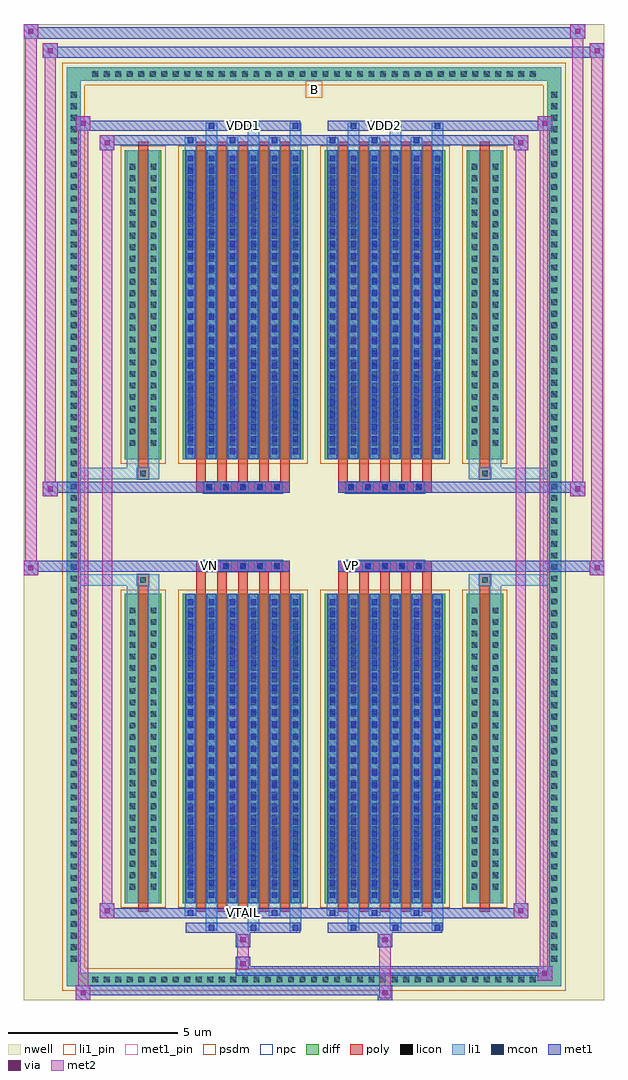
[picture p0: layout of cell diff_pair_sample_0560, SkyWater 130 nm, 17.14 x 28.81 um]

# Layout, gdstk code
import gdstk
lib = gdstk.Library(unit=1e-6, precision=5e-09)
def R(c, l, rs):  # rectangles x0, y0, x1, y1
    for r in rs: c.add(gdstk.rectangle(r[:2], r[2:], *l))
def A(c, l, x, y, w, h, nx, ny, dx, dy):  # array of equal rectangles
    R(c, l, [(x+i*dx, y+j*dy, x+i*dx+w, y+j*dy+h) for i in range(nx) for j in range(ny)])
def P(c, l, *ps):  # polygons
    for p in ps: c.add(gdstk.Polygon(p, *l))
nwell = (64, 20)
diff = (65, 20)
poly = (66, 20)
licon = (66, 44)
li1_pin = (67, 16)
li1 = (67, 20)
mcon = (67, 44)
met1_pin = (68, 16)
met1 = (68, 20)
via = (68, 44)
met2 = (69, 20)
psdm = (94, 20)
npc = (95, 20)

diff_pair_sample_0560 = lib.new_cell('diff_pair_sample_0560')
R(diff_pair_sample_0560, nwell, [(-8.57,-13.97,8.57,14.84), (-5.89,-12.16,-0.01,-0.8), (0.01,-12.16,5.89,-0.8), (-5.89,0.8,-0.01,12.16), (0.01,0.8,5.89,12.16)])
A(diff_pair_sample_0560, diff, -6.665, -13.57, 0.41, 0.41, 39, 2, 0.34, 26.73)
A(diff_pair_sample_0560, diff, -7.3, -12.955, 0.41, 0.41, 1, 76, 0, 0.34)
A(diff_pair_sample_0560, diff, 6.89, -12.955, 0.41, 0.41, 1, 76, 0, 0.34)
R(diff_pair_sample_0560, diff, [(-6.665,-13.57,6.665,-13.16), (-7.3,-12.955,-6.89,12.955), (6.89,-12.955,7.3,12.955), (-5.58,-11.115,-4.51,-1.985), (-3.87,-11.115,-0.32,-1.985), (0.32,-11.115,3.87,-1.985), (4.51,-11.115,5.58,-1.985), (-5.58,1.985,-4.51,11.115), (-3.87,1.985,-0.32,11.115), (0.32,1.985,3.87,11.115), (4.51,1.985,5.58,11.115), (-6.665,13.16,6.665,13.57)])
P(diff_pair_sample_0560, diff, [(7.3,13.57),(-7.3,13.57),(-7.3,-13.16),(-6.89,-13.16),(-6.89,13.16),(6.89,13.16),(6.89,-13.16),(-6.89,-13.16),(-7.3,-13.16),(-7.3,-13.57),(7.3,-13.57)])
A(diff_pair_sample_0560, poly, -3.48, -11.365, 0.29, 9.63, 5, 2, 0.62, 13.1)
A(diff_pair_sample_0560, poly, 0.71, -11.365, 0.29, 9.63, 5, 2, 0.62, 13.1)
A(diff_pair_sample_0560, poly, -3.48, -1.735, 0.29, 0.405, 5, 2, 0.62, 3.065)
A(diff_pair_sample_0560, poly, 0.71, -1.735, 0.29, 0.405, 5, 2, 0.62, 3.065)
A(diff_pair_sample_0560, poly, -3.26, -1.33, 0.33, 0.33, 5, 2, 0.5, 2.33)
A(diff_pair_sample_0560, poly, 0.93, -1.33, 0.33, 0.33, 5, 2, 0.5, 2.33)
R(diff_pair_sample_0560, poly, [(-5.19,-11.365,-4.9,-1.735), (4.9,-11.365,5.19,-1.735), (-5.21,-1.735,-4.88,-1.405), (-5.21,-1.735,-4.88,-1.405), (4.88,-1.735,5.21,-1.405), (4.88,-1.735,5.21,-1.405), (-3.48,-1.33,-0.71,-1), (0.71,-1.33,3.48,-1), (-3.48,1,-0.71,1.33), (0.71,1,3.48,1.33), (-5.21,1.405,-4.88,1.735), (-5.21,1.405,-4.88,1.735), (4.88,1.405,5.21,1.735), (4.88,1.405,5.21,1.735), (-5.19,1.735,-4.9,11.365), (4.9,1.735,5.19,11.365)])
A(diff_pair_sample_0560, licon, -6.545, -13.45, 0.17, 0.17, 39, 2, 0.34, 26.73)
A(diff_pair_sample_0560, licon, -7.18, -12.835, 0.17, 0.17, 1, 76, 0, 0.34)
A(diff_pair_sample_0560, licon, 7.01, -12.835, 0.17, 0.17, 1, 76, 0, 0.34)
A(diff_pair_sample_0560, licon, -5.44, -10.715, 0.17, 0.17, 1, 25, 0, 0.34)
A(diff_pair_sample_0560, licon, -4.82, -10.715, 0.17, 0.17, 1, 25, 0, 0.34)
A(diff_pair_sample_0560, licon, -3.73, -10.715, 0.17, 0.17, 6, 25, 0.62, 0.34)
A(diff_pair_sample_0560, licon, 0.46, -10.715, 0.17, 0.17, 6, 25, 0.62, 0.34)
A(diff_pair_sample_0560, licon, 4.65, -10.715, 0.17, 0.17, 1, 25, 0, 0.34)
A(diff_pair_sample_0560, licon, 5.27, -10.715, 0.17, 0.17, 1, 25, 0, 0.34)
A(diff_pair_sample_0560, licon, -3.18, -1.25, 0.17, 0.17, 5, 2, 0.5, 2.33)
A(diff_pair_sample_0560, licon, 1.01, -1.25, 0.17, 0.17, 5, 2, 0.5, 2.33)
A(diff_pair_sample_0560, licon, -5.44, 2.385, 0.17, 0.17, 1, 25, 0, 0.34)
A(diff_pair_sample_0560, licon, -4.82, 2.385, 0.17, 0.17, 1, 25, 0, 0.34)
A(diff_pair_sample_0560, licon, -3.73, 2.385, 0.17, 0.17, 6, 25, 0.62, 0.34)
A(diff_pair_sample_0560, licon, 0.46, 2.385, 0.17, 0.17, 6, 25, 0.62, 0.34)
A(diff_pair_sample_0560, licon, 4.65, 2.385, 0.17, 0.17, 1, 25, 0, 0.34)
A(diff_pair_sample_0560, licon, 5.27, 2.385, 0.17, 0.17, 1, 25, 0, 0.34)
R(diff_pair_sample_0560, licon, [(-5.13,-1.655,-4.96,-1.485), (4.96,-1.655,5.13,-1.485), (-5.13,1.485,-4.96,1.655), (4.96,1.485,5.13,1.655)])
R(diff_pair_sample_0560, li1_pin, [(-0.25,12.66,0.25,13.16)])
A(diff_pair_sample_0560, li1, -6.625, -13.53, 0.33, 0.33, 39, 2, 0.34, 26.73)
A(diff_pair_sample_0560, li1, -7.26, -12.915, 0.33, 0.33, 1, 76, 0, 0.34)
A(diff_pair_sample_0560, li1, 6.93, -12.915, 0.33, 0.33, 1, 76, 0, 0.34)
A(diff_pair_sample_0560, li1, -3.19, -11.92, 0.33, 0.805, 3, 2, 1.24, 23.035)
A(diff_pair_sample_0560, li1, -3.11, -11.92, 0.17, 0.17, 3, 2, 1.24, 23.67)
A(diff_pair_sample_0560, li1, 1, -11.92, 0.33, 0.805, 3, 2, 1.24, 23.035)
A(diff_pair_sample_0560, li1, 1.08, -11.92, 0.17, 0.17, 3, 2, 1.24, 23.67)
A(diff_pair_sample_0560, li1, -3.81, -11.49, 0.33, 0.375, 3, 2, 1.24, 22.605)
A(diff_pair_sample_0560, li1, -3.73, -11.49, 0.17, 0.17, 3, 2, 1.24, 22.81)
A(diff_pair_sample_0560, li1, 0.38, -11.49, 0.33, 0.375, 3, 2, 1.24, 22.605)
A(diff_pair_sample_0560, li1, 0.46, -11.49, 0.17, 0.17, 3, 2, 1.24, 22.81)
A(diff_pair_sample_0560, li1, -3.81, -11.115, 0.33, 9.13, 6, 2, 0.62, 13.1)
A(diff_pair_sample_0560, li1, 0.38, -11.115, 0.33, 9.13, 6, 2, 0.62, 13.1)
A(diff_pair_sample_0560, li1, -3.73, -10.955, 0.17, 0.17, 6, 25, 0.62, 0.36)
A(diff_pair_sample_0560, li1, -3.73, -10.955, 0.17, 8.81, 6, 2, 0.62, 13.1)
A(diff_pair_sample_0560, li1, 0.46, -10.955, 0.17, 0.17, 6, 25, 0.62, 0.36)
A(diff_pair_sample_0560, li1, 0.46, -10.955, 0.17, 8.81, 6, 2, 0.62, 13.1)
A(diff_pair_sample_0560, li1, -5.52, -10.795, 0.33, 0.33, 1, 25, 0, 0.34)
A(diff_pair_sample_0560, li1, -4.9, -10.795, 0.33, 0.33, 1, 25, 0, 0.34)
A(diff_pair_sample_0560, li1, -3.81, -10.795, 0.33, 0.33, 6, 25, 0.62, 0.34)
A(diff_pair_sample_0560, li1, 0.38, -10.795, 0.33, 0.33, 6, 25, 0.62, 0.34)
A(diff_pair_sample_0560, li1, 4.57, -10.795, 0.33, 0.33, 1, 25, 0, 0.34)
A(diff_pair_sample_0560, li1, 5.19, -10.795, 0.33, 0.33, 1, 25, 0, 0.34)
A(diff_pair_sample_0560, li1, -3.26, -1.33, 0.33, 0.33, 5, 2, 0.5, 2.33)
A(diff_pair_sample_0560, li1, 0.93, -1.33, 0.33, 0.33, 5, 2, 0.5, 2.33)
A(diff_pair_sample_0560, li1, -3.73, 2.145, 0.17, 0.17, 6, 25, 0.62, 0.36)
A(diff_pair_sample_0560, li1, 0.46, 2.145, 0.17, 0.17, 6, 25, 0.62, 0.36)
A(diff_pair_sample_0560, li1, -5.52, 2.305, 0.33, 0.33, 1, 25, 0, 0.34)
A(diff_pair_sample_0560, li1, -4.9, 2.305, 0.33, 0.33, 1, 25, 0, 0.34)
A(diff_pair_sample_0560, li1, -3.81, 2.305, 0.33, 0.33, 6, 25, 0.62, 0.34)
A(diff_pair_sample_0560, li1, 0.38, 2.305, 0.33, 0.33, 6, 25, 0.62, 0.34)
A(diff_pair_sample_0560, li1, 4.57, 2.305, 0.33, 0.33, 1, 25, 0, 0.34)
A(diff_pair_sample_0560, li1, 5.19, 2.305, 0.33, 0.33, 1, 25, 0, 0.34)
R(diff_pair_sample_0560, li1, [(-7.3,-13.57,-6.89,-13.16), (-7.3,-13.57,-6.89,-13.16), (-6.89,-13.57,6.89,-13.16), (6.89,-13.57,7.3,-13.16), (6.89,-13.57,7.3,-13.16), (-7.3,-13.16,-6.89,13.16), (6.89,-13.16,7.3,13.16), (-5.52,-11.115,-5.19,-1.985), (-4.9,-11.115,-4.57,-1.985), (4.57,-11.115,4.9,-1.985), (5.19,-11.115,5.52,-1.985), (-5.52,-1.985,-5.19,-1.405), (-4.9,-1.985,-4.57,-1.405), (4.57,-1.985,4.9,-1.405), (5.19,-1.985,5.52,-1.405), (-7.3,-1.735,-5.21,-1.405), (-5.52,-1.735,-5.21,-1.405), (-5.21,-1.735,-4.88,-1.405), (-4.88,-1.735,-4.57,-1.405), (4.57,-1.735,4.88,-1.405), (4.88,-1.735,5.21,-1.405), (4.88,-1.735,7.3,-1.405), (5.21,-1.735,5.52,-1.405), (-7.3,1.405,-5.21,1.735), (-5.52,1.405,-5.21,1.735), (-5.52,1.405,-5.19,1.985), (-5.21,1.405,-4.88,1.735), (-4.9,1.405,-4.57,1.985), (-4.88,1.405,-4.57,1.735), (4.57,1.405,4.88,1.735), (4.57,1.405,4.9,1.985), (4.88,1.405,5.21,1.735), (4.88,1.405,7.3,1.735), (5.19,1.405,5.52,1.985), (5.21,1.405,5.52,1.735), (-5.52,1.985,-5.19,11.115), (-4.9,1.985,-4.57,11.115), (4.57,1.985,4.9,11.115), (5.19,1.985,5.52,11.115), (-7.3,13.16,-6.89,13.57), (-7.3,13.16,-6.89,13.57), (-6.89,13.16,6.89,13.57), (6.89,13.16,7.3,13.57), (6.89,13.16,7.3,13.57)])
A(diff_pair_sample_0560, mcon, -3.11, -11.92, 0.17, 0.17, 3, 2, 1.24, 23.67)
A(diff_pair_sample_0560, mcon, 1.08, -11.92, 0.17, 0.17, 3, 2, 1.24, 23.67)
A(diff_pair_sample_0560, mcon, -3.73, -11.49, 0.17, 0.17, 3, 2, 1.24, 22.81)
A(diff_pair_sample_0560, mcon, 0.46, -11.49, 0.17, 0.17, 3, 2, 1.24, 22.81)
A(diff_pair_sample_0560, mcon, -3.73, -10.955, 0.17, 0.17, 6, 25, 0.62, 0.36)
A(diff_pair_sample_0560, mcon, 0.46, -10.955, 0.17, 0.17, 6, 25, 0.62, 0.36)
A(diff_pair_sample_0560, mcon, -3.18, -1.25, 0.17, 0.17, 5, 2, 0.5, 2.33)
A(diff_pair_sample_0560, mcon, 1.01, -1.25, 0.17, 0.17, 5, 2, 0.5, 2.33)
A(diff_pair_sample_0560, mcon, -3.73, 2.145, 0.17, 0.17, 6, 25, 0.62, 0.36)
A(diff_pair_sample_0560, mcon, 0.46, 2.145, 0.17, 0.17, 6, 25, 0.62, 0.36)
R(diff_pair_sample_0560, met1_pin, [(-2.23,-11.53,-1.96,-11.26), (-3.23,-1.29,-2.96,-1.02), (0.96,-1.29,1.23,-1.02), (-2.23,11.71,-1.96,11.98), (1.96,11.71,2.23,11.98)])
A(diff_pair_sample_0560, met1, -3.17, -11.98, 0.29, 0.29, 3, 2, 1.24, 23.67)
A(diff_pair_sample_0560, met1, 1.02, -11.98, 0.29, 0.29, 3, 2, 1.24, 23.67)
A(diff_pair_sample_0560, met1, -3.79, -11.55, 0.29, 0.29, 3, 2, 1.24, 22.81)
A(diff_pair_sample_0560, met1, 0.4, -11.55, 0.29, 0.29, 3, 2, 1.24, 22.81)
A(diff_pair_sample_0560, met1, -3.79, -11.115, 0.29, 9.13, 6, 2, 0.62, 13.1)
A(diff_pair_sample_0560, met1, 0.4, -11.115, 0.29, 9.13, 6, 2, 0.62, 13.1)
A(diff_pair_sample_0560, met1, -3.79, -11.015, 0.29, 0.29, 6, 25, 0.62, 0.36)
A(diff_pair_sample_0560, met1, 0.4, -11.015, 0.29, 0.29, 6, 25, 0.62, 0.36)
A(diff_pair_sample_0560, met1, -3.24, -1.31, 0.29, 0.29, 5, 2, 0.5, 2.33)
A(diff_pair_sample_0560, met1, 0.95, -1.31, 0.29, 0.29, 5, 2, 0.5, 2.33)
A(diff_pair_sample_0560, met1, -3.79, 2.085, 0.29, 0.29, 6, 25, 0.62, 0.36)
A(diff_pair_sample_0560, met1, 0.4, 2.085, 0.29, 0.29, 6, 25, 0.62, 0.36)
R(diff_pair_sample_0560, met1, [(-7.03,-13.97,-6.6,-13.54), (1.88,-13.97,2.31,-13.54), (-7.03,-13.83,2.31,-13.54), (6.6,-13.4,7.03,-12.97), (-2.31,-13.26,7.03,-12.97), (-2.31,-13.12,-1.88,-12.69), (-2.31,-12.41,-1.88,-11.98), (1.88,-12.41,2.31,-11.98), (-3.79,-11.98,-0.4,-11.69), (0.4,-11.98,3.79,-11.69), (-6.32,-11.55,-5.89,-11.12), (-6.32,-11.55,-3.79,-11.26), (-3.79,-11.55,-0.4,-11.26), (-0.4,-11.55,0.4,-11.26), (0.4,-11.55,3.79,-11.26), (3.79,-11.55,6.32,-11.26), (5.89,-11.55,6.32,-11.12), (-8.57,-1.43,-8.14,-1), (8.14,-1.43,8.57,-1), (-8.57,-1.33,-0.71,-1), (-3.48,-1.33,-0.71,-1), (0.71,-1.33,3.48,-1), (0.71,-1.33,8.57,-1), (-8,0.9,-7.57,1.33), (7.57,0.9,8,1.33), (-8,1,-3.48,1.33), (-3.48,1,-0.71,1.33), (0.71,1,3.48,1.33), (3.48,1,8,1.33), (-6.32,11.12,-5.89,11.55), (5.89,11.12,6.32,11.55), (-6.32,11.26,-3.79,11.55), (-3.79,11.26,-0.4,11.55), (-0.4,11.26,0.4,11.55), (0.4,11.26,3.79,11.55), (3.79,11.26,6.32,11.55), (-7.03,11.69,-6.6,12.12), (-7.03,11.69,-3.79,11.98), (-3.79,11.69,-0.4,11.98), (0.4,11.69,3.79,11.98), (3.79,11.69,7.03,11.98), (6.6,11.69,7.03,12.12), (-8,13.84,-7.57,14.27), (-8,13.84,-5.89,14.17), (-5.89,13.84,5.89,14.17), (5.89,13.84,8.57,14.17), (8.14,13.84,8.57,14.27), (-8.57,14.41,-8.14,14.84), (-8.57,14.41,-5.89,14.74), (-5.89,14.41,5.89,14.74), (5.89,14.41,8,14.74), (7.57,14.41,8,14.84)])
R(diff_pair_sample_0560, via, [(-6.89,-13.83,-6.74,-13.68), (2.02,-13.83,2.17,-13.68), (6.74,-13.26,6.89,-13.11), (-2.17,-12.98,-2.02,-12.83), (-2.17,-12.27,-2.02,-12.12), (2.02,-12.27,2.17,-12.12), (-6.18,-11.41,-6.03,-11.26), (6.03,-11.41,6.18,-11.26), (-8.43,-1.29,-8.28,-1.14), (8.28,-1.29,8.43,-1.14), (-7.86,1.04,-7.71,1.19), (7.71,1.04,7.86,1.19), (-6.18,11.26,-6.03,11.41), (6.03,11.26,6.18,11.41), (-6.89,11.83,-6.74,11.98), (6.74,11.83,6.89,11.98), (-7.86,13.98,-7.71,14.13), (8.28,13.98,8.43,14.13), (-8.43,14.55,-8.28,14.7), (7.71,14.55,7.86,14.7)])
R(diff_pair_sample_0560, met2, [(-7.03,-13.97,-6.6,-13.54), (-6.96,-13.97,-6.67,12.12), (-6.67,-13.97,-6.6,-13.54), (-6.98,-13.92,-6.65,-13.59), (1.93,-13.92,2.26,-13.59), (1.93,-13.59,2.26,-12.36), (6.6,-13.4,7.03,-12.97), (6.67,-13.4,6.96,12.12), (6.96,-13.4,7.03,-12.97), (6.65,-13.35,6.98,-13.02), (-2.26,-13.07,-1.93,-12.74), (-2.26,-12.74,-1.93,-12.36), (-2.26,-12.36,-1.93,-12.03), (1.93,-12.36,2.26,-12.03), (-6.32,-11.55,-5.89,-11.12), (-6.25,-11.55,-5.96,11.55), (-5.96,-11.55,-5.89,-11.12), (5.89,-11.55,6.32,-11.12), (5.96,-11.55,6.25,11.55), (6.25,-11.55,6.32,-11.12), (-6.27,-11.5,-5.94,-11.17), (5.94,-11.5,6.27,-11.17), (-8.57,-1.43,-8.14,-1), (-8.52,-1.43,-8.19,14.84), (-8.19,-1.43,-8.14,-1), (8.14,-1.43,8.57,-1), (8.19,-1.43,8.52,14.27), (8.52,-1.43,8.57,-1), (-8.52,-1.38,-8.19,-1.05), (8.19,-1.38,8.52,-1.05), (-8,0.9,-7.57,1.33), (-7.95,0.9,-7.62,14.27), (-7.62,0.9,-7.57,1.33), (7.57,0.9,8,1.33), (7.62,0.9,7.95,14.84), (7.95,0.9,8,1.33), (-7.95,0.95,-7.62,1.28), (7.62,0.95,7.95,1.28), (-6.32,11.12,-5.89,11.55), (-5.96,11.12,-5.89,11.55), (5.89,11.12,6.32,11.55), (6.25,11.12,6.32,11.55), (-6.27,11.17,-5.94,11.5), (5.94,11.17,6.27,11.5), (-7.03,11.69,-6.6,12.12), (-6.67,11.69,-6.6,12.12), (6.6,11.69,7.03,12.12), (6.96,11.69,7.03,12.12), (-6.98,11.74,-6.65,12.07), (6.65,11.74,6.98,12.07), (-8,13.84,-7.57,14.27), (-7.62,13.84,-7.57,14.27), (8.14,13.84,8.57,14.27), (8.52,13.84,8.57,14.27), (-7.95,13.89,-7.62,14.22), (8.19,13.89,8.52,14.22), (-8.57,14.41,-8.14,14.84), (-8.19,14.41,-8.14,14.84), (7.57,14.41,8,14.84), (7.95,14.41,8,14.84), (-8.52,14.46,-8.19,14.79), (7.62,14.46,7.95,14.79)])
R(diff_pair_sample_0560, psdm, [(-5.71,-11.245,-4.38,-1.855), (-4,-11.245,-0.19,-1.855), (0.19,-11.245,4,-1.855), (4.38,-11.245,5.71,-1.855), (-5.71,1.855,-4.38,11.245), (-4,1.855,-0.19,11.245), (0.19,1.855,4,11.245), (4.38,1.855,5.71,11.245)])
P(diff_pair_sample_0560, psdm, [(7.43,13.7),(-7.43,13.7),(-7.43,-13.03),(-6.76,-13.03),(-6.76,13.03),(6.76,13.03),(6.76,-13.03),(-6.76,-13.03),(-7.43,-13.03),(-7.43,-13.7),(7.43,-13.7)])
A(diff_pair_sample_0560, npc, -3.28, -1.35, 0.37, 0.37, 5, 2, 0.5, 2.33)
A(diff_pair_sample_0560, npc, 0.91, -1.35, 0.37, 0.37, 5, 2, 0.5, 2.33)
R(diff_pair_sample_0560, npc, [(-5.23,-1.755,-4.86,-1.385), (4.86,-1.755,5.23,-1.385), (-3.28,-1.35,-2.41,-0.98), (-3.28,-1.35,-2.41,-0.98), (-2.78,-1.35,-1.91,-0.98), (-2.78,-1.35,-1.91,-0.98), (-2.28,-1.35,-1.41,-0.98), (-2.28,-1.35,-1.41,-0.98), (-1.78,-1.35,-0.91,-0.98), (-1.78,-1.35,-0.91,-0.98), (0.91,-1.35,1.78,-0.98), (0.91,-1.35,1.78,-0.98), (1.41,-1.35,2.28,-0.98), (1.41,-1.35,2.28,-0.98), (1.91,-1.35,2.78,-0.98), (1.91,-1.35,2.78,-0.98), (2.41,-1.35,3.28,-0.98), (2.41,-1.35,3.28,-0.98), (-3.28,0.98,-2.41,1.35), (-3.28,0.98,-2.41,1.35), (-2.78,0.98,-1.91,1.35), (-2.78,0.98,-1.91,1.35), (-2.28,0.98,-1.41,1.35), (-2.28,0.98,-1.41,1.35), (-1.78,0.98,-0.91,1.35), (-1.78,0.98,-0.91,1.35), (0.91,0.98,1.78,1.35), (0.91,0.98,1.78,1.35), (1.41,0.98,2.28,1.35), (1.41,0.98,2.28,1.35), (1.91,0.98,2.78,1.35), (1.91,0.98,2.78,1.35), (2.41,0.98,3.28,1.35), (2.41,0.98,3.28,1.35), (-5.23,1.385,-4.86,1.755), (4.86,1.385,5.23,1.755)])
diff_pair_sample_0560.add(gdstk.Label('VTAIL', (-2.095,-11.395), layer=68, texttype=5))
diff_pair_sample_0560.add(gdstk.Label('VN', (-3.095,-1.155), layer=68, texttype=5))
diff_pair_sample_0560.add(gdstk.Label('VP', (1.095,-1.155), layer=68, texttype=5))
diff_pair_sample_0560.add(gdstk.Label('B', (0,12.91), layer=67, texttype=5))
diff_pair_sample_0560.add(gdstk.Label('VDD2', (2.095,11.845), layer=68, texttype=5))
diff_pair_sample_0560.add(gdstk.Label('VDD1', (-2.095,11.845), layer=68, texttype=5))

lib.write_gds('diff_pair_sample_0560.gds')
